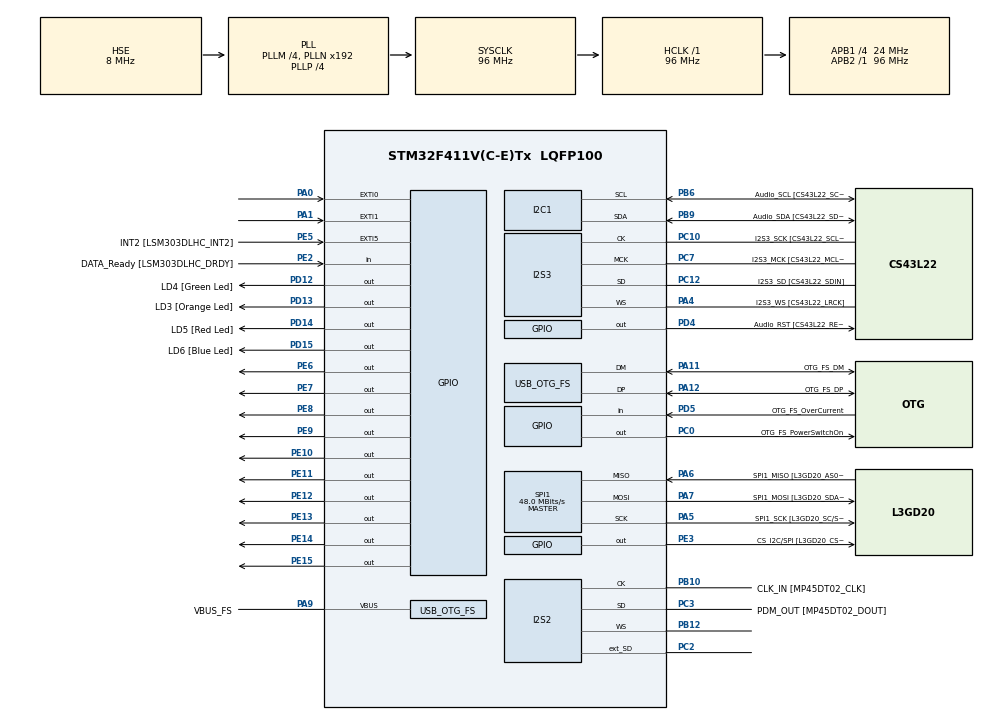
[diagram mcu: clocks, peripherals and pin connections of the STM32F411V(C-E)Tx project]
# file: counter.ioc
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I2S2.AudioFreq=I2S_AUDIOFREQ_96K
I2S2.ErrorAudioFreq=0.15 %
I2S2.FullDuplexMode=I2S_FULLDUPLEXMODE_ENABLE
I2S2.Instance=SPI$Index
I2S2.RealAudioFreq=96.153 KHz
I2S2.VirtualMode=I2S_MODE_MASTER
I2S3.AudioFreq=I2S_AUDIOFREQ_96K
I2S3.ErrorAudioFreq=-6.99 %
I2S3.FullDuplexMode=I2S_FULLDUPLEXMODE_DISABLE
I2S3.Instance=SPI$Index
I2S3.RealAudioFreq=89.285 KHz
I2S3.VirtualMode=I2S_MODE_MASTER
Mcu.Family=STM32F4
Mcu.Name=STM32F411V(C-E)Tx
Mcu.Package=LQFP100
NVIC.EXTI0_IRQn=true\:0\:0\:false\:false\:true\:true\:true\:true
NVIC.EXTI1_IRQn=true\:0\:0\:false\:false\:true\:true\:true\:true
NVIC.OTG_FS_IRQn=true\:0\:0\:false\:false\:true\:true\:true\:true
NVIC.PriorityGroup=NVIC_PRIORITYGROUP_0
PA0-WKUP.Signal=GPXTI0
PA1.GPIO_ModeDefaultEXTI=GPIO_MODE_IT_RISING_FALLING
PA1.Signal=GPXTI1
PA10.GPIO_Label=OTG_FS_ID
PA10.Signal=USB_OTG_FS_ID
PA11.GPIO_Label=OTG_FS_DM
PA11.Mode=Host_Only
PA11.Signal=USB_OTG_FS_DM
PA12.GPIO_Label=OTG_FS_DP
PA12.Mode=Host_Only
PA12.Signal=USB_OTG_FS_DP
PA13.GPIO_Label=SWDIO
PA13.Mode=Serial_Wire
PA13.Signal=SYS_JTMS-SWDIO
PA14.GPIO_Label=SWCLK
PA14.Mode=Serial_Wire
PA14.Signal=SYS_JTCK-SWCLK
PA4.GPIO_Label=I2S3_WS [CS43L22_LRCK]
PA4.GPIO_Mode=GPIO_MODE_AF_PP
PA4.GPIO_PuPd=GPIO_NOPULL
PA4.GPIO_Speed=GPIO_SPEED_FREQ_LOW
PA4.Mode=Half_Duplex_Master
PA4.Signal=I2S3_WS
PA5.GPIO_Label=SPI1_SCK [L3GD20_SC/SPC]
PA5.Mode=Full_Duplex_Master
PA5.Signal=SPI1_SCK
PA6.GPIO_Label=SPI1_MISO [L3GD20_AS0/SDO]
PA6.Mode=Full_Duplex_Master
PA6.Signal=SPI1_MISO
PA7.GPIO_Label=SPI1_MOSI [L3GD20_SDA/SDI/SDO]
PA7.Mode=Full_Duplex_Master
PA7.Signal=SPI1_MOSI
PA9.GPIO_Label=VBUS_FS
PA9.Mode=Activate_VBUS
PA9.Signal=USB_OTG_FS_VBUS
PB10.GPIO_Label=CLK_IN [MP45DT02_CLK]
PB10.Mode=Full_Duplex_Master
PB10.Signal=I2S2_CK
PB12.Mode=Full_Duplex_Master
PB12.Signal=I2S2_WS
PB3.GPIO_Label=SWO
PB3.Signal=SYS_JTDO-SWO
PB6.GPIO_Label=Audio_SCL [CS43L22_SCL]
PB6.GPIO_Mode=GPIO_MODE_AF_OD
PB6.GPIO_Pu=GPIO_PULLUP
PB6.GPIO_PuPd=GPIO_NOPULL
PB6.GPIO_Speed=GPIO_SPEED_FREQ_LOW
PB6.Mode=I2C
PB6.Signal=I2C1_SCL
PB9.GPIO_Label=Audio_SDA [CS43L22_SDA]
PB9.GPIO_Mode=GPIO_MODE_AF_OD
PB9.GPIO_Pu=GPIO_PULLUP
PB9.GPIO_PuPd=GPIO_NOPULL
PB9.GPIO_Speed=GPIO_SPEED_FREQ_LOW
PB9.Mode=I2C
PB9.Signal=I2C1_SDA
PC0.GPIO_Label=OTG_FS_PowerSwitchOn
PC0.PinState=GPIO_PIN_SET
PC0.Signal=GPIO_Output
PC10.GPIO_Label=I2S3_SCK [CS43L22_SCLK]
PC10.GPIO_Mode=GPIO_MODE_AF_PP
PC10.GPIO_PuPd=GPIO_NOPULL
PC10.GPIO_Speed=GPIO_SPEED_FREQ_LOW
PC10.Mode=Half_Duplex_Master
PC10.Signal=I2S3_CK
PC12.GPIO_Label=I2S3_SD [CS43L22_SDIN]
PC12.GPIO_Mode=GPIO_MODE_AF_PP
PC12.GPIO_PuPd=GPIO_NOPULL
PC12.GPIO_Speed=GPIO_SPEED_FREQ_LOW
PC12.Mode=Half_Duplex_Master
PC12.Signal=I2S3_SD
PC14-OSC32_IN.GPIO_Label=PC14-OSC32_IN
PC14-OSC32_IN.Mode=LSE-External-Oscillator
PC14-OSC32_IN.Signal=RCC_OSC32_IN
PC15-OSC32_OUT.GPIO_Label=PC15-OSC32_OUT
PC15-OSC32_OUT.Mode=LSE-External-Oscillator
PC15-OSC32_OUT.Signal=RCC_OSC32_OUT
PC2.Mode=Full_Duplex_Master
PC2.Signal=I2S2_ext_SD
PC3.GPIO_Label=PDM_OUT [MP45DT02_DOUT]
PC3.Mode=Full_Duplex_Master
PC3.Signal=I2S2_SD
PC7.GPIO_Label=I2S3_MCK [CS43L22_MCLK]
PC7.GPIO_Mode=GPIO_MODE_AF_PP
PC7.GPIO_PuPd=GPIO_NOPULL
PC7.GPIO_Speed=GPIO_SPEED_FREQ_LOW
PC7.Mode=Master_Clock_Activated
PC7.Signal=I2S3_MCK
PD12.GPIO_Label=LD4 [Green Led]
PD12.GPIO_PuPd=GPIO_NOPULL
PD12.GPIO_Speed=GPIO_SPEED_FREQ_LOW
PD12.Signal=GPIO_Output
PD13.GPIO_Label=LD3 [Orange Led]
PD13.GPIO_PuPd=GPIO_NOPULL
PD13.GPIO_Speed=GPIO_SPEED_FREQ_LOW
PD13.Signal=GPIO_Output
PD14.GPIO_Label=LD5 [Red Led]
PD14.GPIO_PuPd=GPIO_NOPULL
PD14.GPIO_Speed=GPIO_SPEED_FREQ_LOW
PD14.Signal=GPIO_Output
PD15.GPIO_Label=LD6 [Blue Led]
PD15.GPIO_PuPd=GPIO_NOPULL
PD15.GPIO_Speed=GPIO_SPEED_FREQ_LOW
PD15.Signal=GPIO_Output
PD4.GPIO_Label=Audio_RST [CS43L22_RESET]
PD4.Signal=GPIO_Output
PD5.GPIO_Label=OTG_FS_OverCurrent
PD5.Signal=GPIO_Input
PE10.Signal=GPIO_Output
PE11.Signal=GPIO_Output
PE12.Signal=GPIO_Output
PE13.Signal=GPIO_Output
PE14.Signal=GPIO_Output
PE15.Signal=GPIO_Output
PE2.GPIO_Label=DATA_Ready [LSM303DLHC_DRDY]
PE2.Signal=GPIO_Input
PE3.GPIO_Label=CS_I2C/SPI [L3GD20_CS_I2C/SPI]
PE3.Signal=GPIO_Output
PE5.GPIO_Label=INT2 [LSM303DLHC_INT2]
PE5.GPIO_ModeDefaultEXTI=GPIO_MODE_EVT_RISING
PE5.Signal=GPXTI5
PE6.Signal=GPIO_Output
PE7.Signal=GPIO_Output
PE8.Signal=GPIO_Output
PE9.Signal=GPIO_Output
PH0\ -\ OSC_IN.GPIO_Label=PH0-OSC_IN
PH0\ -\ OSC_IN.Mode=HSE-External-Oscillator
PH0\ -\ OSC_IN.Signal=RCC_OSC_IN
PH1\ -\ OSC_OUT.GPIO_Label=PH1-OSC_OUT
PH1\ -\ OSC_OUT.Mode=HSE-External-Oscillator
PH1\ -\ OSC_OUT.Signal=RCC_OSC_OUT
ProjectManager.HeapSize=0x200
ProjectManager.StackSize=0x400
ProjectManager.TargetToolchain=STM32CubeIDE
RCC.48MHZClocksFreq_Value=48000000
RCC.AHBFreq_Value=96000000
RCC.APB1CLKDivider=RCC_HCLK_DIV4
RCC.APB1Freq_Value=24000000
RCC.APB1TimFreq_Value=48000000
RCC.APB2Freq_Value=96000000
RCC.APB2TimFreq_Value=96000000
RCC.CortexFreq_Value=96000000
RCC.HCLKFreq_Value=96000000
RCC.HSE_VALUE=8000000
RCC.HSI_VALUE=16000000
RCC.PLLI2SM=5
RCC.PLLI2SN=200
RCC.PLLM=4
RCC.PLLP=RCC_PLLP_DIV4
RCC.PLLQ=8
RCC.SYSCLKFreq_VALUE=96000000
RCC.SYSCLKSource=RCC_SYSCLKSOURCE_PLLCLK
RCC.VCOOutputFreq_Value=384000000
SPI1.BaudRatePrescaler=SPI_BAUDRATEPRESCALER_2
SPI1.CalculateBaudRate=48.0 MBits/s
SPI1.Direction=SPI_DIRECTION_2LINES
SPI1.Mode=SPI_MODE_MASTER
SPI1.VirtualType=VM_MASTER
USB_HOST.BSP.number=1
USB_HOST.USBH_HandleTypeDef=hUsbHostFS
USB_HOST.VirtualModeFS=Cdc
USB_HOST0.BSP.STBoard=false
USB_HOST0.BSP.api=Unknown
USB_HOST0.BSP.instance=PC0
USB_HOST0.BSP.ip=GPIO
USB_HOST0.BSP.mode=Output
USB_HOST0.BSP.name=Drive_VBUS_FS
USB_HOST0.BSP.solution=PC0
USB_OTG_FS.VirtualMode=Host_Only
USB_OTG_FS.phy_itface=HCD_PHY_EMBEDDED
VP_USB_HOST_VS_USB_HOST_CDC_FS.Mode=CDC_FS
board=STM32F411E-DISCO

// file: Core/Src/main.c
/* USER CODE BEGIN Header */
/**
  ******************************************************************************
  * @file           : main.c
  * @brief          : Main program body
  ******************************************************************************
  * @attention
  *
  * Copyright (c) 2022 STMicroelectronics.
  * All rights reserved.
  *
  * This software is licensed under terms that can be found in the LICENSE file
  * in the root directory of this software component.
  * If no LICENSE file comes with this software, it is provided AS-IS.
  *
  ******************************************************************************
  */
/* USER CODE END Header */
#include "main.h"
#include "usb_host.h"

/* USER CODE BEGIN Includes */
#include "stdbool.h"
/* USER CODE END Includes */

I2C_HandleTypeDef hi2c1;

I2S_HandleTypeDef hi2s2;
I2S_HandleTypeDef hi2s3;

SPI_HandleTypeDef hspi1;

void SystemClock_Config(void);
void PeriphCommonClock_Config(void);
static void MX_GPIO_Init(void);
static void MX_I2C1_Init(void);
static void MX_I2S2_Init(void);
static void MX_I2S3_Init(void);
static void MX_SPI1_Init(void);
void MX_USB_HOST_Process(void);

/* USER CODE BEGIN PFP */
volatile int pressed = 0;
volatile bool button_is_pressed = false;
void HAL_GPIO_EXTI_Callback(uint16_t GPIO_Pin)
{
	if( GPIO_Pin != GPIO_PIN_1) {
		return;
	}

	static uint32_t last_change_tick;
	if( HAL_GetTick() - last_change_tick < 30 ) {
		return;
	}

	last_change_tick = HAL_GetTick();

	if(button_is_pressed) {
	  pressed++;
	}

	button_is_pressed = !button_is_pressed;
}
/* USER CODE END PFP */

int main(void)
{

  /* MCU Configuration--------------------------------------------------------*/

  /* Reset of all peripherals, Initializes the Flash interface and the Systick. */
  HAL_Init();

  /* Configure the system clock */
  SystemClock_Config();

/* Configure the peripherals common clocks */
  PeriphCommonClock_Config();

  /* Initialize all configured peripherals */
  MX_GPIO_Init();
  MX_I2C1_Init();
  MX_I2S2_Init();
  MX_I2S3_Init();
  MX_SPI1_Init();
  MX_USB_HOST_Init();

  /* Infinite loop */
  /* USER CODE BEGIN WHILE */
  while (1)
  {
    GPIOE->ODR &= ~(0x3FF << 6);
    __disable_irq();
    GPIOE->ODR |= (pressed & 0x3FF) << 6;
    __enable_irq();

    HAL_Delay(50);
    /* USER CODE END WHILE */
    MX_USB_HOST_Process();

  }
}

void SystemClock_Config(void)
{
  RCC_OscInitTypeDef RCC_OscInitStruct = {0};
  RCC_ClkInitTypeDef RCC_ClkInitStruct = {0};

  /** Configure the main internal regulator output voltage
  */
  __HAL_RCC_PWR_CLK_ENABLE();
  __HAL_PWR_VOLTAGESCALING_CONFIG(PWR_REGULATOR_VOLTAGE_SCALE1);

  /** Initializes the RCC Oscillators according to the specified parameters
  * in the RCC_OscInitTypeDef structure.
  */
  RCC_OscInitStruct.OscillatorType = RCC_OSCILLATORTYPE_HSE;
  RCC_OscInitStruct.HSEState = RCC_HSE_ON;
  RCC_OscInitStruct.PLL.PLLState = RCC_PLL_ON;
  RCC_OscInitStruct.PLL.PLLSource = RCC_PLLSOURCE_HSE;
  RCC_OscInitStruct.PLL.PLLM = 4;
  RCC_OscInitStruct.PLL.PLLN = 192;
  RCC_OscInitStruct.PLL.PLLP = RCC_PLLP_DIV4;
  RCC_OscInitStruct.PLL.PLLQ = 8;
  if (HAL_RCC_OscConfig(&RCC_OscInitStruct) != HAL_OK)
  {
    Error_Handler();
  }

  /** Initializes the CPU, AHB and APB buses clocks
  */
  RCC_ClkInitStruct.ClockType = RCC_CLOCKTYPE_HCLK|RCC_CLOCKTYPE_SYSCLK
                              |RCC_CLOCKTYPE_PCLK1|RCC_CLOCKTYPE_PCLK2;
  RCC_ClkInitStruct.SYSCLKSource = RCC_SYSCLKSOURCE_PLLCLK;
  RCC_ClkInitStruct.AHBCLKDivider = RCC_SYSCLK_DIV1;
  RCC_ClkInitStruct.APB1CLKDivider = RCC_HCLK_DIV4;
  RCC_ClkInitStruct.APB2CLKDivider = RCC_HCLK_DIV1;

  if (HAL_RCC_ClockConfig(&RCC_ClkInitStruct, FLASH_LATENCY_3) != HAL_OK)
  {
    Error_Handler();
  }
}

void PeriphCommonClock_Config(void)
{
  RCC_PeriphCLKInitTypeDef PeriphClkInitStruct = {0};

  /** Initializes the peripherals clock
  */
  PeriphClkInitStruct.PeriphClockSelection = RCC_PERIPHCLK_I2S;
  PeriphClkInitStruct.PLLI2S.PLLI2SN = 200;
  PeriphClkInitStruct.PLLI2S.PLLI2SM = 5;
  PeriphClkInitStruct.PLLI2S.PLLI2SR = 2;
  if (HAL_RCCEx_PeriphCLKConfig(&PeriphClkInitStruct) != HAL_OK)
  {
    Error_Handler();
  }
}

static void MX_I2C1_Init(void)
{

  hi2c1.Instance = I2C1;
  hi2c1.Init.ClockSpeed = 100000;
  hi2c1.Init.DutyCycle = I2C_DUTYCYCLE_2;
  hi2c1.Init.OwnAddress1 = 0;
  hi2c1.Init.AddressingMode = I2C_ADDRESSINGMODE_7BIT;
  hi2c1.Init.DualAddressMode = I2C_DUALADDRESS_DISABLE;
  hi2c1.Init.OwnAddress2 = 0;
  hi2c1.Init.GeneralCallMode = I2C_GENERALCALL_DISABLE;
  hi2c1.Init.NoStretchMode = I2C_NOSTRETCH_DISABLE;
  if (HAL_I2C_Init(&hi2c1) != HAL_OK)
  {
    Error_Handler();
  }

}

static void MX_I2S2_Init(void)
{

  hi2s2.Instance = SPI2;
  hi2s2.Init.Mode = I2S_MODE_MASTER_TX;
  hi2s2.Init.Standard = I2S_STANDARD_PHILIPS;
  hi2s2.Init.DataFormat = I2S_DATAFORMAT_16B;
  hi2s2.Init.MCLKOutput = I2S_MCLKOUTPUT_DISABLE;
  hi2s2.Init.AudioFreq = I2S_AUDIOFREQ_96K;
  hi2s2.Init.CPOL = I2S_CPOL_LOW;
  hi2s2.Init.ClockSource = I2S_CLOCK_PLL;
  hi2s2.Init.FullDuplexMode = I2S_FULLDUPLEXMODE_ENABLE;
  if (HAL_I2S_Init(&hi2s2) != HAL_OK)
  {
    Error_Handler();
  }

}

static void MX_I2S3_Init(void)
{

  hi2s3.Instance = SPI3;
  hi2s3.Init.Mode = I2S_MODE_MASTER_TX;
  hi2s3.Init.Standard = I2S_STANDARD_PHILIPS;
  hi2s3.Init.DataFormat = I2S_DATAFORMAT_16B;
  hi2s3.Init.MCLKOutput = I2S_MCLKOUTPUT_ENABLE;
  hi2s3.Init.AudioFreq = I2S_AUDIOFREQ_96K;
  hi2s3.Init.CPOL = I2S_CPOL_LOW;
  hi2s3.Init.ClockSource = I2S_CLOCK_PLL;
  hi2s3.Init.FullDuplexMode = I2S_FULLDUPLEXMODE_DISABLE;
  if (HAL_I2S_Init(&hi2s3) != HAL_OK)
  {
    Error_Handler();
  }

}

static void MX_SPI1_Init(void)
{

  /* SPI1 parameter configuration*/
  hspi1.Instance = SPI1;
  hspi1.Init.Mode = SPI_MODE_MASTER;
  hspi1.Init.Direction = SPI_DIRECTION_2LINES;
  hspi1.Init.DataSize = SPI_DATASIZE_8BIT;
  hspi1.Init.CLKPolarity = SPI_POLARITY_LOW;
  hspi1.Init.CLKPhase = SPI_PHASE_1EDGE;
  hspi1.Init.NSS = SPI_NSS_SOFT;
  hspi1.Init.BaudRatePrescaler = SPI_BAUDRATEPRESCALER_2;
  hspi1.Init.FirstBit = SPI_FIRSTBIT_MSB;
  hspi1.Init.TIMode = SPI_TIMODE_DISABLE;
  hspi1.Init.CRCCalculation = SPI_CRCCALCULATION_DISABLE;
  hspi1.Init.CRCPolynomial = 10;
  if (HAL_SPI_Init(&hspi1) != HAL_OK)
  {
    Error_Handler();
  }

}

static void MX_GPIO_Init(void)
{
  GPIO_InitTypeDef GPIO_InitStruct = {0};

  /* GPIO Ports Clock Enable */
  __HAL_RCC_GPIOE_CLK_ENABLE();
  __HAL_RCC_GPIOC_CLK_ENABLE();
  __HAL_RCC_GPIOH_CLK_ENABLE();
  __HAL_RCC_GPIOA_CLK_ENABLE();
  __HAL_RCC_GPIOB_CLK_ENABLE();
  __HAL_RCC_GPIOD_CLK_ENABLE();

  /*Configure GPIO pin Output Level */
  HAL_GPIO_WritePin(GPIOE, CS_I2C_SPI_Pin|GPIO_PIN_6|GPIO_PIN_7|GPIO_PIN_8
                          |GPIO_PIN_9|GPIO_PIN_10|GPIO_PIN_11|GPIO_PIN_12
                          |GPIO_PIN_13|GPIO_PIN_14|GPIO_PIN_15, GPIO_PIN_RESET);

  /*Configure GPIO pin Output Level */
  HAL_GPIO_WritePin(OTG_FS_PowerSwitchOn_GPIO_Port, OTG_FS_PowerSwitchOn_Pin, GPIO_PIN_SET);

  /*Configure GPIO pin Output Level */
  HAL_GPIO_WritePin(GPIOD, LD4_Pin|LD3_Pin|LD5_Pin|LD6_Pin
                          |Audio_RST_Pin, GPIO_PIN_RESET);

  /*Configure GPIO pin : DATA_Ready_Pin */
  GPIO_InitStruct.Pin = DATA_Ready_Pin;
  GPIO_InitStruct.Mode = GPIO_MODE_INPUT;
  GPIO_InitStruct.Pull = GPIO_NOPULL;
  HAL_GPIO_Init(DATA_Ready_GPIO_Port, &GPIO_InitStruct);

  /*Configure GPIO pins : CS_I2C_SPI_Pin PE6 PE7 PE8
                           PE9 PE10 PE11 PE12
                           PE13 PE14 PE15 */
  GPIO_InitStruct.Pin = CS_I2C_SPI_Pin|GPIO_PIN_6|GPIO_PIN_7|GPIO_PIN_8
                          |GPIO_PIN_9|GPIO_PIN_10|GPIO_PIN_11|GPIO_PIN_12
                          |GPIO_PIN_13|GPIO_PIN_14|GPIO_PIN_15;
  GPIO_InitStruct.Mode = GPIO_MODE_OUTPUT_PP;
  GPIO_InitStruct.Pull = GPIO_NOPULL;
  GPIO_InitStruct.Speed = GPIO_SPEED_FREQ_LOW;
  HAL_GPIO_Init(GPIOE, &GPIO_InitStruct);

  /*Configure GPIO pin : INT2_Pin */
  GPIO_InitStruct.Pin = INT2_Pin;
  GPIO_InitStruct.Mode = GPIO_MODE_EVT_RISING;
  GPIO_InitStruct.Pull = GPIO_NOPULL;
  HAL_GPIO_Init(INT2_GPIO_Port, &GPIO_InitStruct);

  /*Configure GPIO pin : OTG_FS_PowerSwitchOn_Pin */
  GPIO_InitStruct.Pin = OTG_FS_PowerSwitchOn_Pin;
  GPIO_InitStruct.Mode = GPIO_MODE_OUTPUT_PP;
  GPIO_InitStruct.Pull = GPIO_NOPULL;
  GPIO_InitStruct.Speed = GPIO_SPEED_FREQ_LOW;
  HAL_GPIO_Init(OTG_FS_PowerSwitchOn_GPIO_Port, &GPIO_InitStruct);

  /*Configure GPIO pin : PA0 */
  GPIO_InitStruct.Pin = GPIO_PIN_0;
  GPIO_InitStruct.Mode = GPIO_MODE_IT_RISING;
  GPIO_InitStruct.Pull = GPIO_NOPULL;
  HAL_GPIO_Init(GPIOA, &GPIO_InitStruct);

  /*Configure GPIO pin : PA1 */
  GPIO_InitStruct.Pin = GPIO_PIN_1;
  GPIO_InitStruct.Mode = GPIO_MODE_IT_RISING_FALLING;
  GPIO_InitStruct.Pull = GPIO_NOPULL;
  HAL_GPIO_Init(GPIOA, &GPIO_InitStruct);

  /*Configure GPIO pins : LD4_Pin LD3_Pin LD5_Pin LD6_Pin
                           Audio_RST_Pin */
  GPIO_InitStruct.Pin = LD4_Pin|LD3_Pin|LD5_Pin|LD6_Pin
                          |Audio_RST_Pin;
  GPIO_InitStruct.Mode = GPIO_MODE_OUTPUT_PP;
  GPIO_InitStruct.Pull = GPIO_NOPULL;
  GPIO_InitStruct.Speed = GPIO_SPEED_FREQ_LOW;
  HAL_GPIO_Init(GPIOD, &GPIO_InitStruct);

  /*Configure GPIO pin : OTG_FS_OverCurrent_Pin */
  GPIO_InitStruct.Pin = OTG_FS_OverCurrent_Pin;
  GPIO_InitStruct.Mode = GPIO_MODE_INPUT;
  GPIO_InitStruct.Pull = GPIO_NOPULL;
  HAL_GPIO_Init(OTG_FS_OverCurrent_GPIO_Port, &GPIO_InitStruct);

  /* EXTI interrupt init*/
  HAL_NVIC_SetPriority(EXTI0_IRQn, 0, 0);
  HAL_NVIC_EnableIRQ(EXTI0_IRQn);

  HAL_NVIC_SetPriority(EXTI1_IRQn, 0, 0);
  HAL_NVIC_EnableIRQ(EXTI1_IRQn);

}

void Error_Handler(void)
{
  __disable_irq();
  while (1)
  {
  }
}
